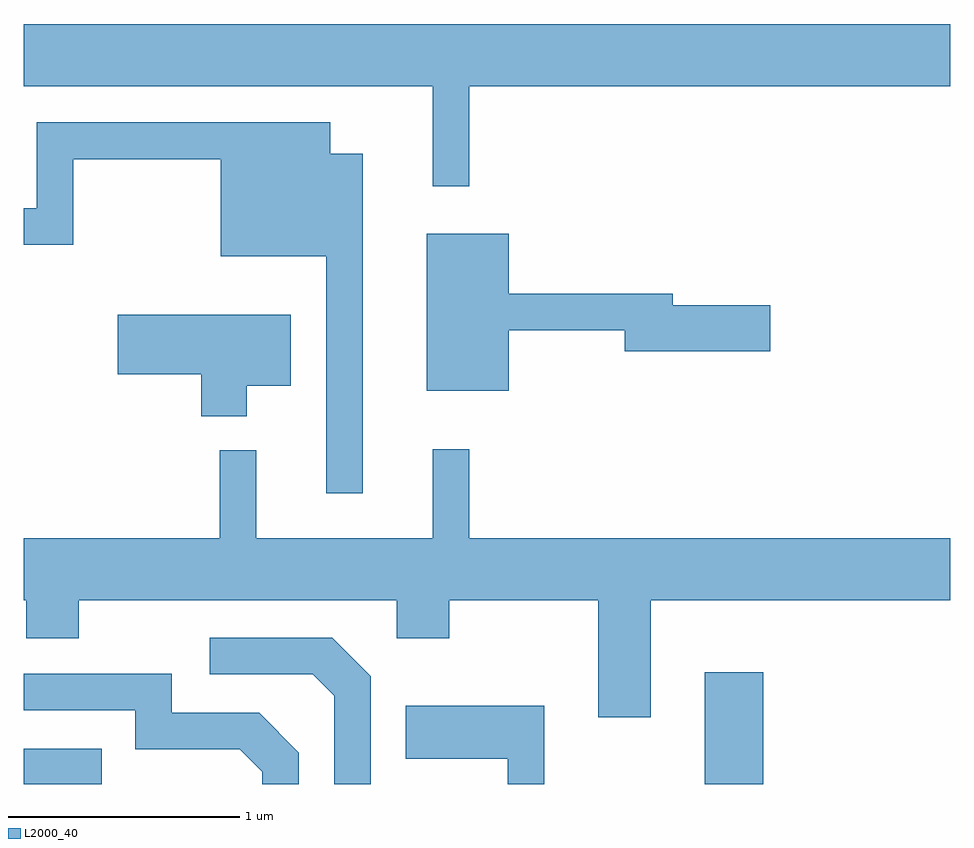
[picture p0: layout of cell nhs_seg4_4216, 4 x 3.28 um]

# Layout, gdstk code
import gdstk
lib = gdstk.Library(unit=1e-6, precision=1e-09)
def R(c, l, rs):  # rectangles x0, y0, x1, y1
    for r in rs: c.add(gdstk.rectangle(r[:2], r[2:], *l))
def P(c, l, *ps):  # polygons
    for p in ps: c.add(gdstk.Polygon(p, *l))
L2000_40 = (2000, 40)

nhs_seg4_4216 = lib.new_cell('nhs_seg4_4216')
R(nhs_seg4_4216, L2000_40, [(309.611,1253.982,309.948,1254.134), (312.551,1253.982,312.804,1254.464)])
P(nhs_seg4_4216, L2000_40, [(311.534,1256.996),(313.611,1256.996),(313.611,1257.264),(309.611,1257.264),(309.611,1256.996),(311.376,1256.996),(311.376,1256.563),(311.534,1256.563)],
  [(311.074,1256.704),(310.934,1256.704),(310.934,1256.839),(309.666,1256.839),(309.666,1256.469),(309.611,1256.469),(309.611,1256.311),(309.824,1256.311),(309.824,1256.681),(310.461,1256.681),(310.461,1256.261),(310.916,1256.261),(310.916,1255.238),(311.074,1255.238)],
  [(311.704,1255.941),(312.206,1255.941),(312.206,1255.851),(312.834,1255.851),(312.834,1256.049),(312.414,1256.049),(312.414,1256.099),(311.704,1256.099),(311.704,1256.359),(311.351,1256.359),(311.351,1255.681),(311.704,1255.681)],
  [(310.574,1255.701),(310.764,1255.701),(310.764,1256.009),(310.016,1256.009),(310.016,1255.751),(310.376,1255.751),(310.376,1255.571),(310.574,1255.571)],
  [(311.376,1255.428),(311.376,1255.044),(310.614,1255.044),(310.614,1255.423),(310.456,1255.423),(310.456,1255.044),(309.611,1255.044),(309.611,1254.776),(309.621,1254.776),(309.621,1254.611),(309.849,1254.611),(309.849,1254.776),(311.221,1254.776),(311.221,1254.611),(311.449,1254.611),(311.449,1254.776),(312.091,1254.776),(312.091,1254.271),(312.319,1254.271),(312.319,1254.776),(313.611,1254.776),(313.611,1255.044),(311.534,1255.044),(311.534,1255.428)],
  [(311.109,1254.447),(310.942,1254.614),(310.413,1254.614),(310.413,1254.456),(310.859,1254.456),(310.951,1254.364),(310.951,1253.982),(311.109,1253.982)],
  [(310.799,1254.117),(310.627,1254.289),(310.249,1254.289),(310.249,1254.459),(309.611,1254.459),(309.611,1254.301),(310.091,1254.301),(310.091,1254.131),(310.544,1254.131),(310.641,1254.034),(310.641,1253.982),(310.799,1253.982)],
  [(311.859,1254.319),(311.261,1254.319),(311.261,1254.091),(311.701,1254.091),(311.701,1253.982),(311.859,1253.982)])

lib.write_gds('nhs_seg4_4216.gds')
